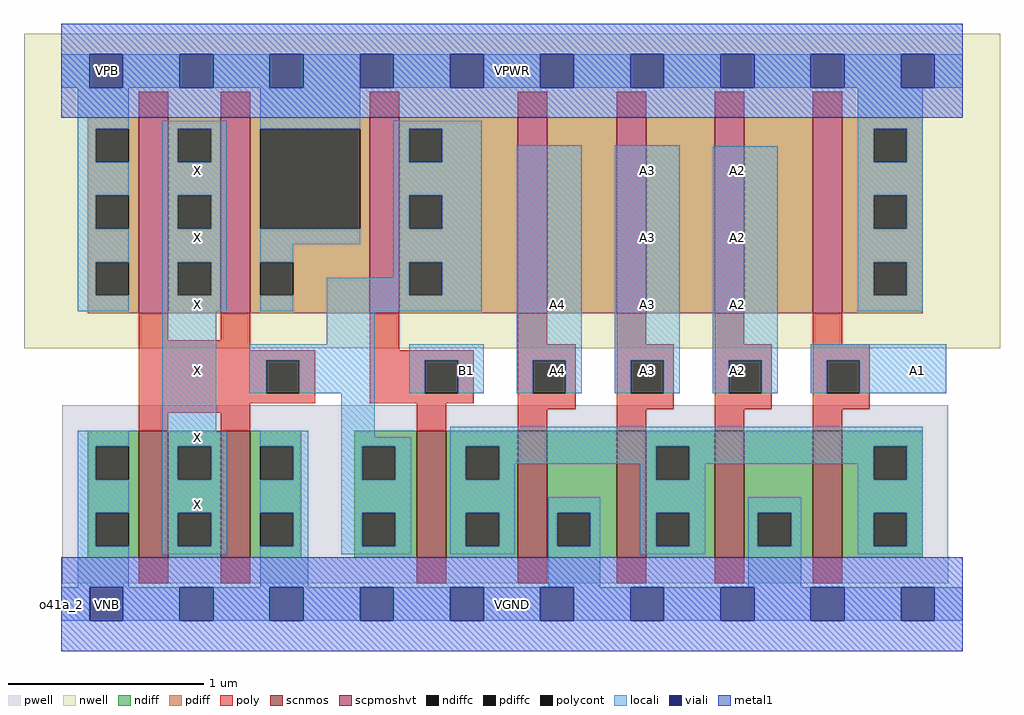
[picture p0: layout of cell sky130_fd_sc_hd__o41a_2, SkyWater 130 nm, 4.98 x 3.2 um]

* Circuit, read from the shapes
.subckt sky130_fd_sc_hd__o41a_2 A1 A2 A3 A4 B1 VGND VNB VPB VPWR X
XM1 X n1 VGND VNB sky130_fd_pr__nfet_01v8 w=0.65 l=0.15 m=2
XM2 n2 B1 n1 VNB sky130_fd_pr__nfet_01v8 w=0.65 l=0.15
XM3 VGND A4 n2 VNB sky130_fd_pr__nfet_01v8 w=0.65 l=0.15
XM4 n2 A3 VGND VNB sky130_fd_pr__nfet_01v8 w=0.65 l=0.15
XM5 VGND A2 n2 VNB sky130_fd_pr__nfet_01v8 w=0.65 l=0.15
XM6 n2 A1 VGND VNB sky130_fd_pr__nfet_01v8 w=0.65 l=0.15
XM7 X n1 VPWR VPB sky130_fd_pr__pfet_01v8_hvt w=1 l=0.15 m=2
XM8 n1 B1 VPWR VPB sky130_fd_pr__pfet_01v8_hvt w=1 l=0.15
XM9 n3 A4 n1 VPB sky130_fd_pr__pfet_01v8_hvt w=1 l=0.15
XM10 n4 A3 n3 VPB sky130_fd_pr__pfet_01v8_hvt w=1 l=0.15
XM11 n5 A2 n4 VPB sky130_fd_pr__pfet_01v8_hvt w=1 l=0.15
XM12 VPWR A1 n5 VPB sky130_fd_pr__pfet_01v8_hvt w=1 l=0.15
.ends

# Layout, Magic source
magic
tech sky130A
magscale 1 2
<< nwell >>
rect -38 261 958 582
<< pwell >>
rect 1 21 905 203
rect 30 -17 64 21
<< scnmos >>
rect 79 47 109 177
rect 163 47 193 177
rect 363 47 393 177
rect 466 47 496 177
rect 567 47 597 177
rect 667 47 697 177
rect 767 47 797 177
<< scpmoshvt >>
rect 79 297 109 497
rect 163 297 193 497
rect 315 297 345 497
rect 466 297 496 497
rect 567 297 597 497
rect 667 297 697 497
rect 767 297 797 497
<< ndiff >>
rect 27 161 79 177
rect 27 127 35 161
rect 69 127 79 161
rect 27 93 79 127
rect 27 59 35 93
rect 69 59 79 93
rect 27 47 79 59
rect 109 161 163 177
rect 109 127 119 161
rect 153 127 163 161
rect 109 93 163 127
rect 109 59 119 93
rect 153 59 163 93
rect 109 47 163 59
rect 193 161 245 177
rect 193 127 203 161
rect 237 127 245 161
rect 193 93 245 127
rect 193 59 203 93
rect 237 59 245 93
rect 193 47 245 59
rect 299 161 363 177
rect 299 127 307 161
rect 341 127 363 161
rect 299 93 363 127
rect 299 59 307 93
rect 341 59 363 93
rect 299 47 363 59
rect 393 161 466 177
rect 393 127 413 161
rect 447 127 466 161
rect 393 93 466 127
rect 393 59 413 93
rect 447 59 466 93
rect 393 47 466 59
rect 496 93 567 177
rect 496 59 506 93
rect 540 59 567 93
rect 496 47 567 59
rect 597 161 667 177
rect 597 127 607 161
rect 641 127 667 161
rect 597 93 667 127
rect 597 59 607 93
rect 641 59 667 93
rect 597 47 667 59
rect 697 93 767 177
rect 697 59 711 93
rect 745 59 767 93
rect 697 47 767 59
rect 797 161 879 177
rect 797 127 829 161
rect 863 127 879 161
rect 797 93 879 127
rect 797 59 829 93
rect 863 59 879 93
rect 797 47 879 59
<< pdiff >>
rect 27 485 79 497
rect 27 451 35 485
rect 69 451 79 485
rect 27 417 79 451
rect 27 383 35 417
rect 69 383 79 417
rect 27 349 79 383
rect 27 315 35 349
rect 69 315 79 349
rect 27 297 79 315
rect 109 485 163 497
rect 109 451 119 485
rect 153 451 163 485
rect 109 417 163 451
rect 109 383 119 417
rect 153 383 163 417
rect 109 349 163 383
rect 109 315 119 349
rect 153 315 163 349
rect 109 297 163 315
rect 193 485 315 497
rect 193 383 203 485
rect 305 383 315 485
rect 193 349 315 383
rect 193 315 203 349
rect 237 315 315 349
rect 193 297 315 315
rect 345 485 466 497
rect 345 451 355 485
rect 389 451 466 485
rect 345 417 466 451
rect 345 383 355 417
rect 389 383 466 417
rect 345 349 466 383
rect 345 315 355 349
rect 389 315 466 349
rect 345 297 466 315
rect 496 297 567 497
rect 597 297 667 497
rect 697 297 767 497
rect 797 485 879 497
rect 797 451 829 485
rect 863 451 879 485
rect 797 417 879 451
rect 797 383 829 417
rect 863 383 879 417
rect 797 349 879 383
rect 797 315 829 349
rect 863 315 879 349
rect 797 297 879 315
<< ndiffc >>
rect 35 127 69 161
rect 35 59 69 93
rect 119 127 153 161
rect 119 59 153 93
rect 203 127 237 161
rect 203 59 237 93
rect 307 127 341 161
rect 307 59 341 93
rect 413 127 447 161
rect 413 59 447 93
rect 506 59 540 93
rect 607 127 641 161
rect 607 59 641 93
rect 711 59 745 93
rect 829 127 863 161
rect 829 59 863 93
<< pdiffc >>
rect 35 451 69 485
rect 35 383 69 417
rect 35 315 69 349
rect 119 451 153 485
rect 119 383 153 417
rect 119 315 153 349
rect 203 383 305 485
rect 203 315 237 349
rect 355 451 389 485
rect 355 383 389 417
rect 355 315 389 349
rect 829 451 863 485
rect 829 383 863 417
rect 829 315 863 349
<< poly >>
rect 79 497 109 523
rect 163 497 193 523
rect 315 497 345 523
rect 466 497 496 523
rect 567 497 597 523
rect 667 497 697 523
rect 767 497 797 523
rect 79 269 109 297
rect 163 269 193 297
rect 79 259 193 269
rect 315 259 345 297
rect 466 265 496 297
rect 567 265 597 297
rect 667 265 697 297
rect 767 265 797 297
rect 79 249 259 259
rect 79 215 209 249
rect 243 215 259 249
rect 79 205 259 215
rect 315 249 421 259
rect 315 215 371 249
rect 405 215 421 249
rect 315 205 421 215
rect 466 249 525 265
rect 466 215 481 249
rect 515 215 525 249
rect 79 195 193 205
rect 79 177 109 195
rect 163 177 193 195
rect 363 177 393 205
rect 466 199 525 215
rect 567 249 625 265
rect 567 215 581 249
rect 615 215 625 249
rect 567 199 625 215
rect 667 249 725 265
rect 667 215 681 249
rect 715 215 725 249
rect 667 199 725 215
rect 767 249 825 265
rect 767 215 781 249
rect 815 215 825 249
rect 767 199 825 215
rect 466 177 496 199
rect 567 177 597 199
rect 667 177 697 199
rect 767 177 797 199
rect 79 21 109 47
rect 163 21 193 47
rect 363 21 393 47
rect 466 21 496 47
rect 567 21 597 47
rect 667 21 697 47
rect 767 21 797 47
<< polycont >>
rect 209 215 243 249
rect 371 215 405 249
rect 481 215 515 249
rect 581 215 615 249
rect 681 215 715 249
rect 781 215 815 249
<< locali >>
rect 0 527 29 561
rect 63 527 121 561
rect 155 527 213 561
rect 247 527 305 561
rect 339 527 397 561
rect 431 527 489 561
rect 523 527 581 561
rect 615 527 673 561
rect 707 527 765 561
rect 799 527 857 561
rect 891 527 920 561
rect 17 485 69 527
rect 17 451 35 485
rect 17 417 69 451
rect 17 383 35 417
rect 17 349 69 383
rect 17 315 35 349
rect 17 299 69 315
rect 103 485 169 493
rect 103 451 119 485
rect 153 451 169 485
rect 103 417 169 451
rect 103 383 119 417
rect 153 383 169 417
rect 103 349 169 383
rect 103 315 119 349
rect 153 315 169 349
rect 103 299 169 315
rect 203 485 305 527
rect 203 367 305 383
rect 339 485 429 493
rect 339 451 355 485
rect 389 451 429 485
rect 813 485 879 527
rect 339 417 429 451
rect 339 383 355 417
rect 389 383 429 417
rect 203 349 237 367
rect 339 349 429 383
rect 339 333 355 349
rect 203 299 237 315
rect 271 315 355 333
rect 389 315 429 349
rect 271 299 429 315
rect 17 161 69 177
rect 17 127 35 161
rect 17 93 69 127
rect 17 59 35 93
rect 17 17 69 59
rect 103 176 158 299
rect 271 265 320 299
rect 192 249 320 265
rect 192 215 209 249
rect 243 215 320 249
rect 355 249 431 265
rect 355 215 371 249
rect 405 215 431 249
rect 465 249 531 468
rect 465 215 481 249
rect 515 215 531 249
rect 565 249 631 468
rect 565 215 581 249
rect 615 215 631 249
rect 665 249 731 467
rect 813 451 829 485
rect 863 451 879 485
rect 813 417 879 451
rect 813 383 829 417
rect 863 383 879 417
rect 813 349 879 383
rect 813 315 829 349
rect 863 315 879 349
rect 813 299 879 315
rect 665 215 681 249
rect 715 215 731 249
rect 765 249 903 265
rect 765 215 781 249
rect 815 215 903 249
rect 103 161 169 176
rect 103 127 119 161
rect 153 127 169 161
rect 103 93 169 127
rect 103 59 119 93
rect 153 59 169 93
rect 103 51 169 59
rect 203 161 252 177
rect 237 127 252 161
rect 203 93 252 127
rect 237 59 252 93
rect 203 17 252 59
rect 286 170 320 215
rect 286 161 357 170
rect 286 127 307 161
rect 341 127 357 161
rect 286 93 357 127
rect 286 59 307 93
rect 341 59 357 93
rect 286 51 357 59
rect 397 161 879 181
rect 397 127 413 161
rect 447 143 607 161
rect 447 127 463 143
rect 397 93 463 127
rect 591 127 607 143
rect 641 143 829 161
rect 641 127 657 143
rect 397 59 413 93
rect 447 59 463 93
rect 397 51 463 59
rect 497 93 550 109
rect 497 59 506 93
rect 540 59 550 93
rect 497 17 550 59
rect 591 93 657 127
rect 813 127 829 143
rect 863 127 879 161
rect 591 59 607 93
rect 641 59 657 93
rect 591 51 657 59
rect 701 93 755 109
rect 701 59 711 93
rect 745 59 755 93
rect 701 17 755 59
rect 813 93 879 127
rect 813 59 829 93
rect 863 59 879 93
rect 813 51 879 59
rect 0 -17 29 17
rect 63 -17 121 17
rect 155 -17 213 17
rect 247 -17 305 17
rect 339 -17 397 17
rect 431 -17 489 17
rect 523 -17 581 17
rect 615 -17 673 17
rect 707 -17 765 17
rect 799 -17 857 17
rect 891 -17 920 17
<< viali >>
rect 29 527 63 561
rect 121 527 155 561
rect 213 527 247 561
rect 305 527 339 561
rect 397 527 431 561
rect 489 527 523 561
rect 581 527 615 561
rect 673 527 707 561
rect 765 527 799 561
rect 857 527 891 561
rect 29 -17 63 17
rect 121 -17 155 17
rect 213 -17 247 17
rect 305 -17 339 17
rect 397 -17 431 17
rect 489 -17 523 17
rect 581 -17 615 17
rect 673 -17 707 17
rect 765 -17 799 17
rect 857 -17 891 17
<< metal1 >>
rect 0 561 920 592
rect 0 527 29 561
rect 63 527 121 561
rect 155 527 213 561
rect 247 527 305 561
rect 339 527 397 561
rect 431 527 489 561
rect 523 527 581 561
rect 615 527 673 561
rect 707 527 765 561
rect 799 527 857 561
rect 891 527 920 561
rect 0 496 920 527
rect 0 17 920 48
rect 0 -17 29 17
rect 63 -17 121 17
rect 155 -17 213 17
rect 247 -17 305 17
rect 339 -17 397 17
rect 431 -17 489 17
rect 523 -17 581 17
rect 615 -17 673 17
rect 707 -17 765 17
rect 799 -17 857 17
rect 891 -17 920 17
rect 0 -48 920 -17
<< labels >>
flabel locali s 857 221 891 255 0 FreeSans 250 0 0 0 A1
port 1 nsew signal input
flabel locali s 673 221 707 255 0 FreeSans 250 0 0 0 A2
port 2 nsew signal input
flabel locali s 673 289 707 323 0 FreeSans 250 0 0 0 A2
port 2 nsew signal input
flabel locali s 673 357 707 391 0 FreeSans 250 0 0 0 A2
port 2 nsew signal input
flabel locali s 673 425 707 459 0 FreeSans 250 0 0 0 A2
port 2 nsew signal input
flabel locali s 581 425 615 459 0 FreeSans 250 0 0 0 A3
port 3 nsew signal input
flabel locali s 581 357 615 391 0 FreeSans 250 0 0 0 A3
port 3 nsew signal input
flabel locali s 581 289 615 323 0 FreeSans 250 0 0 0 A3
port 3 nsew signal input
flabel locali s 581 221 615 255 0 FreeSans 250 0 0 0 A3
port 3 nsew signal input
flabel locali s 489 221 523 255 0 FreeSans 250 0 0 0 A4
port 4 nsew signal input
flabel locali s 489 289 523 323 0 FreeSans 250 0 0 0 A4
port 4 nsew signal input
flabel locali s 397 221 431 255 0 FreeSans 250 0 0 0 B1
port 5 nsew signal input
flabel locali s 122 85 156 119 0 FreeSans 250 0 0 0 X
port 10 nsew signal output
flabel locali s 122 153 156 187 0 FreeSans 250 0 0 0 X
port 10 nsew signal output
flabel locali s 122 221 156 255 0 FreeSans 250 0 0 0 X
port 10 nsew signal output
flabel locali s 122 289 156 323 0 FreeSans 250 0 0 0 X
port 10 nsew signal output
flabel locali s 122 357 156 391 0 FreeSans 250 0 0 0 X
port 10 nsew signal output
flabel locali s 122 425 156 459 0 FreeSans 250 0 0 0 X
port 10 nsew signal output
flabel pwell s 30 -17 64 17 0 FreeSans 200 0 0 0 VNB
port 7 nsew ground bidirectional
flabel nwell s 30 527 64 561 0 FreeSans 200 0 0 0 VPB
port 8 nsew power bidirectional
flabel metal1 s 30 -17 64 17 0 FreeSans 200 0 0 0 VGND
port 6 nsew ground bidirectional abutment
flabel metal1 s 30 527 64 561 0 FreeSans 200 0 0 0 VPWR
port 9 nsew power bidirectional abutment
rlabel comment s 0 0 0 0 4 o41a_2
rlabel metal1 s 0 -48 920 48 1 VGND
port 6 nsew ground bidirectional abutment
rlabel metal1 s 0 496 920 592 1 VPWR
port 9 nsew power bidirectional abutment
<< properties >>
string FIXED_BBOX 0 0 920 544
string GDS_END 1526168
string GDS_FILE $PDKPATH/libs.ref/sky130_fd_sc_hd/gds/sky130_fd_sc_hd.gds
string GDS_START 1517088
string LEFclass CORE
string LEFsite unithd
string LEFsymmetry X Y R90
string path 0.000 0.000 4.600 0.000 
<< end >>
